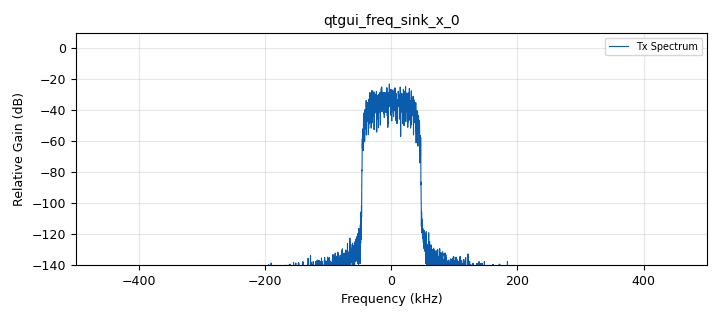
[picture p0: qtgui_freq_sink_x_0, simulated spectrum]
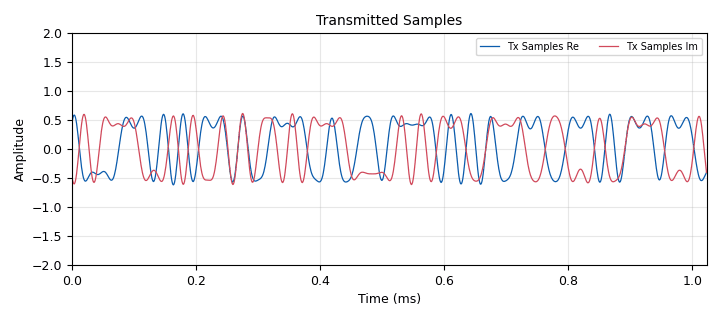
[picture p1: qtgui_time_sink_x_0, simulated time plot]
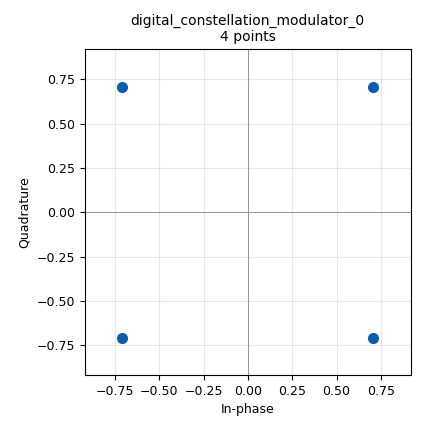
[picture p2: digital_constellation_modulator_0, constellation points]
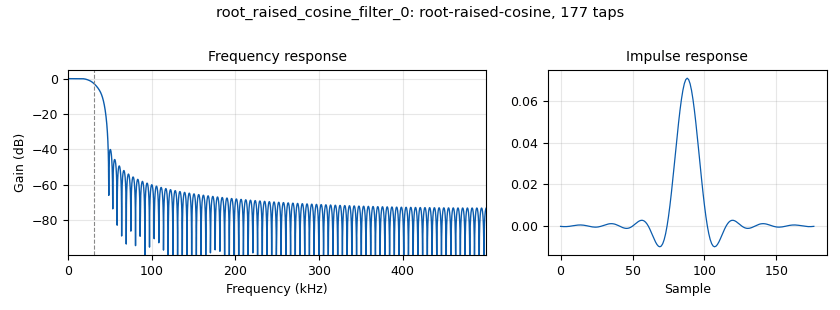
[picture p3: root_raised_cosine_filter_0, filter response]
options:
  parameters:
    generate_options: qt_gui
    id: constellation_modulator_pluto
    output_language: python
    title: constellation_modulator_pluto
  states: {}

blocks:
- name: alpha
  id: variable
  parameters:
    value: '0.5'
  states: {}
- name: buff_size
  id: variable
  parameters:
    value: int(32768)
  states: {}
- name: constellation
  id: variable_constellation
  parameters:
    const_points: '[-1-1j, -1+1j, 1+1j, 1-1j]'
    dims: '1'
    normalization: digital.constellation.AMPLITUDE_NORMALIZATION
    precision: '8'
    rot_sym: '4'
    sym_map: '[0, 1, 2, 3]'
    type: calcdist
  states: {}
- name: interval_update
  id: variable
  parameters:
    value: int(0)
  states: {}
- name: lo_freq
  id: variable
  parameters:
    value: '2200000000'
  states: {}
- name: offset_rx
  id: variable_qtgui_range
  parameters:
    gui_hint: (1,0,1,2)
    start: '-300000'
    step: '1'
    stop: '250000'
    value: '-100000'
  states: {}
- name: offset_tx
  id: variable
  parameters:
    value: '100000'
  states: {}
- name: pluto_ip
  id: variable_config
  parameters:
    config_file: default
    option: key
    section: main
    type: string
    value: ip:192.168.2.1
    writeback: None
  states: {}
- name: rx_gain
  id: variable_qtgui_range
  parameters:
    label: Rx Gain
    start: '0'
    step: '1'
    stop: '60'
    value: '10'
  states: {}
- name: samp_rate
  id: variable
  parameters:
    value: '1000000'
  states: {}
- name: sps
  id: variable
  parameters:
    value: '16'
  states: {}
- name: tx_attenuation
  id: variable_qtgui_range
  parameters:
    label: Tx Attenuation
    start: '0'
    step: '1'
    stop: '89'
    value: '15'
  states: {}
- name: analog_agc_xx_0
  id: analog_agc_xx
  parameters:
    gain: '1.0'
    max_gain: '65536'
    rate: '1e-4'
    reference: '1.0'
    type: complex
  states: {}
- name: analog_random_uniform_source_x_0
  id: analog_random_uniform_source_x
  parameters:
    maximum: '4'
    minimum: '0'
    seed: '0'
    type: byte
  states: {}
- name: analog_sig_source_x_0_0
  id: analog_sig_source_x
  parameters:
    amp: '1'
    freq: offset_tx
    offset: '0'
    phase: '0'
    samp_rate: samp_rate
    type: complex
    waveform: analog.GR_COS_WAVE
  states: {}
- name: analog_sig_source_x_0_0_0
  id: analog_sig_source_x
  parameters:
    amp: '1'
    freq: offset_rx
    offset: '0'
    phase: '0'
    samp_rate: samp_rate
    type: complex
    waveform: analog.GR_COS_WAVE
  states: {}
- name: blocks_multiply_const_vxx_0
  id: blocks_multiply_const_vxx
  parameters:
    const: '0.6'
    type: complex
  states: {}
- name: blocks_multiply_xx_0_0
  id: blocks_multiply_xx
  parameters:
    type: complex
  states: {}
- name: blocks_multiply_xx_0_0_0
  id: blocks_multiply_xx
  parameters:
    type: complex
  states: {}
- name: blocks_unpacked_to_packed_xx_0
  id: blocks_unpacked_to_packed_xx
  parameters:
    bits_per_chunk: '2'
    endianness: gr.GR_MSB_FIRST
    type: byte
  states: {}
- name: blocks_vector_source_x_0
  id: blocks_vector_source_x
  parameters:
    repeat: 'True'
    type: byte
    vector: (2,2,3,1,3,1,0,2,0)
  states: {state: disabled}
- name: digital_constellation_modulator_0
  id: digital_constellation_modulator
  parameters:
    constellation: constellation
    differential: 'True'
    excess_bw: alpha
    samples_per_symbol: sps
  states: {}
- name: digital_fll_band_edge_cc_0
  id: digital_fll_band_edge_cc
  parameters:
    filter_size: sps*2+1
    rolloff: alpha
    samps_per_sym: sps
    type: cc
    w: 2*math.pi/sps/100
  states: {}
- name: iio_pluto_sink_0
  id: iio_pluto_sink
  parameters:
    attenuation1: tx_attenuation
    bandwidth: samp_rate*5
    buffer_size: buff_size
    cyclic: 'True'
    filter_source: '''Auto'''
    frequency: lo_freq
    samplerate: samp_rate
    type: fc32
    uri: pluto_ip
  states: {}
- name: iio_pluto_source_0
  id: iio_pluto_source
  parameters:
    bandwidth: samp_rate*5
    bbdc: 'True'
    buffer_size: buff_size
    filter_source: '''Auto'''
    frequency: lo_freq
    gain1: '''manual'''
    manual_gain1: rx_gain
    quadrature: 'True'
    rfdc: 'True'
    samplerate: samp_rate
    type: fc32
    uri: pluto_ip
  states: {}
- name: import_0
  id: import
  parameters:
    imports: import math
  states: {}
- name: qtgui_const_sink_x_0
  id: qtgui_const_sink_x
  parameters:
    grid: 'True'
    gui_hint: (3,0,1,1)
    label1: Received Constellation
    name: Received Constellation
    size: '1024'
    tr_level: '0.5'
    tr_mode: qtgui.TRIG_MODE_NORM
    type: complex
  states: {}
- name: qtgui_eye_sink_x_0_0
  id: qtgui_eye_sink_x
  parameters:
    grid: 'True'
    gui_hint: (3,1,1,1)
    label1: Rx Samples Re
    label2: Rx Samples Im
    samp_per_symbol: sps
    size: '1024'
    srate: samp_rate
    type: complex
    ymax: '2'
    ymin: '-2'
  states: {}
- name: qtgui_freq_sink_x_0
  id: qtgui_freq_sink_x
  parameters:
    bw: samp_rate
    fc: '0'
    fftsize: '8192'
    grid: 'True'
    gui_hint: (0,1,1,1)
    label1: Tx Spectrum
    norm_window: 'True'
    tr_level: '-40'
    tr_mode: qtgui.TRIG_MODE_NORM
    type: complex
    update_time: '1'
  states: {}
- name: qtgui_freq_sink_x_0_0_0
  id: qtgui_freq_sink_x
  parameters:
    bw: samp_rate
    color4: '"magenta"'
    fc: '0'
    fftsize: '8192'
    grid: 'True'
    gui_hint: (2,1,1,1)
    label1: Rx Spectrum
    label2: Rx Spectrum + Freq Offset
    label3: Rx Spectrum + Freq Offset + FLL
    label4: Rx Spectrum+Freq Offset+FLL+RRC
    name: '"Received spectrum"'
    nconnections: '4'
    norm_window: 'True'
    tr_level: '-60'
    tr_mode: qtgui.TRIG_MODE_NORM
    type: complex
    width4: '3'
    ymin: '-120'
  states: {}
- name: qtgui_time_sink_x_0
  id: qtgui_time_sink_x
  parameters:
    grid: 'True'
    gui_hint: (0,0,1,1)
    label1: Tx Samples Re
    label2: Tx Samples Im
    name: Transmitted Samples
    size: '1024'
    srate: samp_rate
    tr_level: '0.5'
    tr_mode: qtgui.TRIG_MODE_NORM
    type: complex
    ymax: '2'
    ymin: '-2'
  states: {}
- name: qtgui_time_sink_x_1_0
  id: qtgui_time_sink_x
  parameters:
    grid: 'True'
    gui_hint: (2,0,1,1)
    label1: Rx Samples+Freq Offset+FLL+RRC Re
    label2: Rx Samples+Freq Offset+FLL+RRC Im
    name: '"Received Samples"'
    size: 1024*3
    srate: samp_rate
    tr_level: '0.1'
    tr_mode: qtgui.TRIG_MODE_NORM
    type: complex
    ymax: '2'
    ymin: '-2'
  states: {}
- name: root_raised_cosine_filter_0
  id: root_raised_cosine_filter
  parameters:
    alpha: alpha
    decim: '1'
    gain: '1'
    ntaps: 11*sps
    samp_rate: samp_rate
    sym_rate: samp_rate/sps
    type: fir_filter_ccf
  states: {}

connections:
- [analog_agc_xx_0, '0', digital_fll_band_edge_cc_0, '0']
- [analog_agc_xx_0, '0', qtgui_freq_sink_x_0_0_0, '1']
- [analog_random_uniform_source_x_0, '0', blocks_unpacked_to_packed_xx_0, '0']
- [analog_sig_source_x_0_0, '0', blocks_multiply_xx_0_0, '1']
- [analog_sig_source_x_0_0_0, '0', blocks_multiply_xx_0_0_0, '1']
- [blocks_multiply_const_vxx_0, '0', blocks_multiply_xx_0_0, '0']
- [blocks_multiply_const_vxx_0, '0', qtgui_freq_sink_x_0, '0']
- [blocks_multiply_const_vxx_0, '0', qtgui_time_sink_x_0, '0']
- [blocks_multiply_xx_0_0, '0', iio_pluto_sink_0, '0']
- [blocks_multiply_xx_0_0_0, '0', analog_agc_xx_0, '0']
- [blocks_unpacked_to_packed_xx_0, '0', digital_constellation_modulator_0, '0']
- [blocks_vector_source_x_0, '0', blocks_unpacked_to_packed_xx_0, '0']
- [digital_constellation_modulator_0, '0', blocks_multiply_const_vxx_0, '0']
- [digital_fll_band_edge_cc_0, '0', qtgui_freq_sink_x_0_0_0, '2']
- [digital_fll_band_edge_cc_0, '0', root_raised_cosine_filter_0, '0']
- [iio_pluto_source_0, '0', blocks_multiply_xx_0_0_0, '0']
- [iio_pluto_source_0, '0', qtgui_freq_sink_x_0_0_0, '0']
- [root_raised_cosine_filter_0, '0', qtgui_const_sink_x_0, '0']
- [root_raised_cosine_filter_0, '0', qtgui_eye_sink_x_0_0, '0']
- [root_raised_cosine_filter_0, '0', qtgui_freq_sink_x_0_0_0, '3']
- [root_raised_cosine_filter_0, '0', qtgui_time_sink_x_1_0, '0']

metadata:
  file_format: 1
  grc_version: 3.10.11.0
